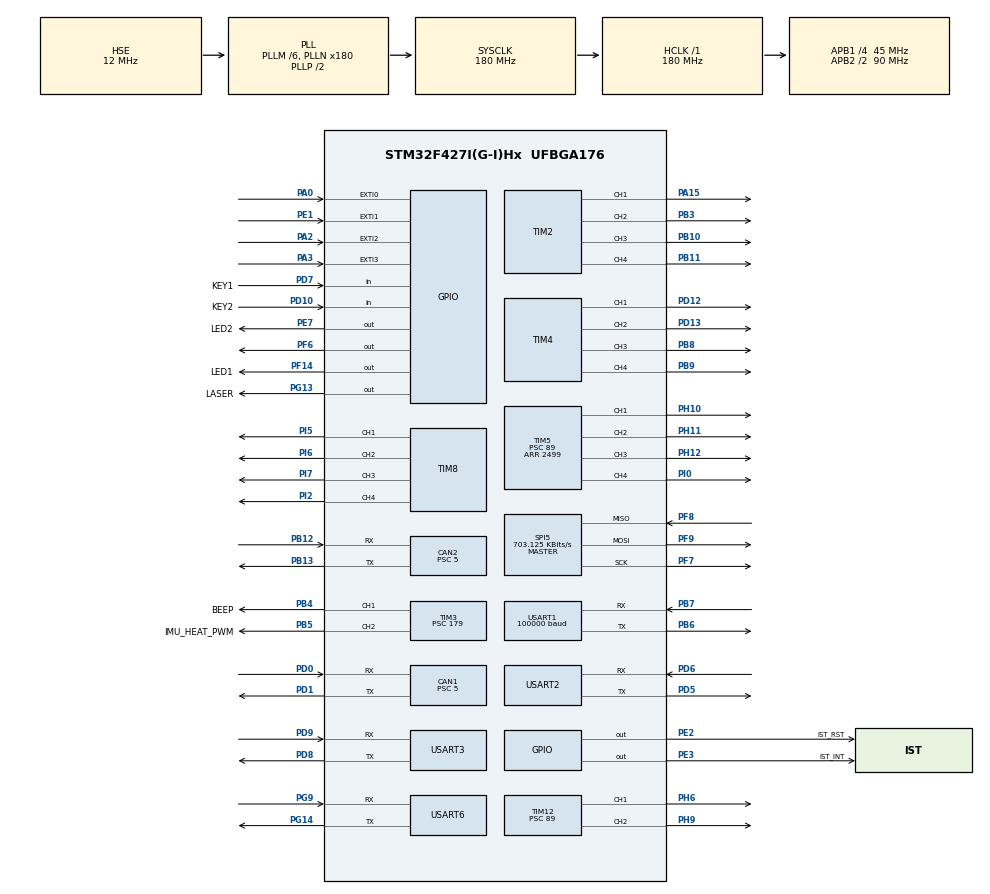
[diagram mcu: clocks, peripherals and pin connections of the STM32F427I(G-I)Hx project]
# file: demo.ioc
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CAN1.ABOM=ENABLE
CAN1.BS1=CAN_BS1_3TQ
CAN1.BS2=CAN_BS2_5TQ
CAN1.CalculateTimeBit=1000
CAN1.CalculateTimeQuantum=111.11111111111111
CAN1.Prescaler=5
CAN1.SJW=CAN_SJW_1TQ
CAN2.ABOM=ENABLE
CAN2.BS1=CAN_BS1_3TQ
CAN2.BS2=CAN_BS2_5TQ
CAN2.CalculateTimeBit=1000
CAN2.CalculateTimeQuantum=111.11111111111111
CAN2.Prescaler=5
CAN2.SJW=CAN_SJW_4TQ
Dma.Request0=USART1_RX
Dma.Request1=USART2_RX
Dma.Request2=USART3_RX
Dma.Request3=USART6_RX
Dma.USART1_RX.0.Direction=DMA_PERIPH_TO_MEMORY
Dma.USART1_RX.0.FIFOMode=DMA_FIFOMODE_DISABLE
Dma.USART1_RX.0.Instance=DMA2_Stream2
Dma.USART1_RX.0.MemDataAlignment=DMA_MDATAALIGN_BYTE
Dma.USART1_RX.0.MemInc=DMA_MINC_ENABLE
Dma.USART1_RX.0.Mode=DMA_NORMAL
Dma.USART1_RX.0.PeriphDataAlignment=DMA_PDATAALIGN_BYTE
Dma.USART1_RX.0.PeriphInc=DMA_PINC_DISABLE
Dma.USART1_RX.0.Priority=DMA_PRIORITY_LOW
Dma.USART2_RX.1.Direction=DMA_PERIPH_TO_MEMORY
Dma.USART2_RX.1.FIFOMode=DMA_FIFOMODE_DISABLE
Dma.USART2_RX.1.Instance=DMA1_Stream5
Dma.USART2_RX.1.MemDataAlignment=DMA_MDATAALIGN_BYTE
Dma.USART2_RX.1.MemInc=DMA_MINC_ENABLE
Dma.USART2_RX.1.Mode=DMA_NORMAL
Dma.USART2_RX.1.PeriphDataAlignment=DMA_PDATAALIGN_BYTE
Dma.USART2_RX.1.PeriphInc=DMA_PINC_DISABLE
Dma.USART2_RX.1.Priority=DMA_PRIORITY_LOW
Dma.USART3_RX.2.Direction=DMA_PERIPH_TO_MEMORY
Dma.USART3_RX.2.FIFOMode=DMA_FIFOMODE_DISABLE
Dma.USART3_RX.2.Instance=DMA1_Stream1
Dma.USART3_RX.2.MemDataAlignment=DMA_MDATAALIGN_BYTE
Dma.USART3_RX.2.MemInc=DMA_MINC_ENABLE
Dma.USART3_RX.2.Mode=DMA_NORMAL
Dma.USART3_RX.2.PeriphDataAlignment=DMA_PDATAALIGN_BYTE
Dma.USART3_RX.2.PeriphInc=DMA_PINC_DISABLE
Dma.USART3_RX.2.Priority=DMA_PRIORITY_LOW
Dma.USART6_RX.3.Direction=DMA_PERIPH_TO_MEMORY
Dma.USART6_RX.3.FIFOMode=DMA_FIFOMODE_DISABLE
Dma.USART6_RX.3.Instance=DMA2_Stream1
Dma.USART6_RX.3.MemDataAlignment=DMA_MDATAALIGN_BYTE
Dma.USART6_RX.3.MemInc=DMA_MINC_ENABLE
Dma.USART6_RX.3.Mode=DMA_NORMAL
Dma.USART6_RX.3.PeriphDataAlignment=DMA_PDATAALIGN_BYTE
Dma.USART6_RX.3.PeriphInc=DMA_PINC_DISABLE
Dma.USART6_RX.3.Priority=DMA_PRIORITY_LOW
FREERTOS.Tasks01=defaultTask,0,128,StartDefaultTask,Default
Mcu.Family=STM32F4
Mcu.Name=STM32F427I(G-I)Hx
Mcu.Package=UFBGA176
NVIC.CAN1_RX0_IRQn=true\:5\:0\:false\:false\:true\:true\:true\:true
NVIC.CAN1_TX_IRQn=true\:5\:0\:false\:false\:true\:true\:true\:true
NVIC.CAN2_RX0_IRQn=true\:0\:0\:false\:false\:true\:false\:true\:true
NVIC.CAN2_TX_IRQn=true\:0\:0\:false\:false\:true\:false\:true\:true
NVIC.DMA1_Stream1_IRQn=true\:5\:0\:false\:false\:true\:true\:true\:true
NVIC.DMA1_Stream5_IRQn=true\:5\:0\:false\:false\:true\:true\:true\:true
NVIC.DMA2_Stream1_IRQn=true\:5\:0\:false\:false\:true\:true\:true\:true
NVIC.DMA2_Stream2_IRQn=true\:5\:0\:false\:false\:true\:true\:true\:true
NVIC.PriorityGroup=NVIC_PRIORITYGROUP_4
NVIC.TIM6_DAC_IRQn=true\:0\:0\:false\:false\:true\:false\:true\:true
NVIC.TimeBase=TIM6_DAC_IRQn
NVIC.TimeBaseIP=TIM6
NVIC.USART1_IRQn=true\:5\:0\:false\:false\:true\:true\:true\:true
NVIC.USART2_IRQn=true\:0\:0\:false\:false\:true\:false\:true\:true
NVIC.USART3_IRQn=true\:0\:0\:false\:false\:true\:false\:true\:true
NVIC.USART6_IRQn=true\:5\:0\:false\:false\:true\:true\:true\:true
PA0/WKUP.Signal=GPXTI0
PA13.Mode=Serial_Wire
PA13.Signal=SYS_JTMS-SWDIO
PA14.Mode=Serial_Wire
PA14.Signal=SYS_JTCK-SWCLK
PA15.Signal=S_TIM2_CH1_ETR
PA2.Signal=GPXTI2
PA3.Signal=GPXTI3
PB10.Signal=S_TIM2_CH3
PB11.Signal=S_TIM2_CH4
PB12.Mode=Slave
PB12.Signal=CAN2_RX
PB13.Mode=Slave
PB13.Signal=CAN2_TX
PB3.Signal=S_TIM2_CH2
PB4.GPIO_Label=BEEP
PB4.Signal=S_TIM3_CH1
PB5.GPIO_Label=IMU_HEAT_PWM
PB5.Signal=S_TIM3_CH2
PB6.Mode=Asynchronous
PB6.Signal=USART1_TX
PB7.Mode=Asynchronous
PB7.Signal=USART1_RX
PB8.Signal=S_TIM4_CH3
PB9.Signal=S_TIM4_CH4
PD0.Mode=Master
PD0.Signal=CAN1_RX
PD1.Mode=Master
PD1.Signal=CAN1_TX
PD10.GPIO_Label=KEY2
PD10.Signal=GPIO_Input
PD12.Signal=S_TIM4_CH1
PD13.Signal=S_TIM4_CH2
PD5.Mode=Asynchronous
PD5.Signal=USART2_TX
PD6.Mode=Asynchronous
PD6.Signal=USART2_RX
PD7.GPIO_Label=KEY1
PD7.Signal=GPIO_Input
PD8.Mode=Asynchronous
PD8.Signal=USART3_TX
PD9.Mode=Asynchronous
PD9.Signal=USART3_RX
PE1.GPIO_ModeDefaultEXTI=GPIO_MODE_IT_FALLING
PE1.GPIO_PuPd=GPIO_PULLUP
PE1.Signal=GPXTI1
PE2.GPIO_Label=IST_RST
PE2.PinState=GPIO_PIN_SET
PE2.Signal=GPIO_Output
PE3.GPIO_Label=IST_INT
PE3.Signal=GPIO_Output
PE7.GPIO_Label=LED2
PE7.Signal=GPIO_Output
PF14.GPIO_Label=LED1
PF14.Signal=GPIO_Output
PF6.Signal=GPIO_Output
PF7.Mode=Full_Duplex_Master
PF7.Signal=SPI5_SCK
PF8.Mode=Full_Duplex_Master
PF8.Signal=SPI5_MISO
PF9.Mode=Full_Duplex_Master
PF9.Signal=SPI5_MOSI
PG13.GPIO_Label=LASER
PG13.Signal=GPIO_Output
PG14.Mode=Asynchronous
PG14.Signal=USART6_TX
PG9.Mode=Asynchronous
PG9.Signal=USART6_RX
PH0/OSC_IN.Mode=HSE-External-Oscillator
PH0/OSC_IN.Signal=RCC_OSC_IN
PH1/OSC_OUT.Mode=HSE-External-Oscillator
PH1/OSC_OUT.Signal=RCC_OSC_OUT
PH10.Signal=S_TIM5_CH1
PH11.Signal=S_TIM5_CH2
PH12.Signal=S_TIM5_CH3
PH6.Signal=S_TIM12_CH1
PH9.Signal=S_TIM12_CH2
PI0.Signal=S_TIM5_CH4
PI2.Signal=S_TIM8_CH4
PI5.Signal=S_TIM8_CH1
PI6.Signal=S_TIM8_CH2
PI7.Signal=S_TIM8_CH3
ProjectManager.HeapSize=0x200
ProjectManager.StackSize=0x400
ProjectManager.TargetToolchain=MDK-ARM V5
RCC.48MHZClocksFreq_Value=90000000
RCC.AHBFreq_Value=180000000
RCC.APB1CLKDivider=RCC_HCLK_DIV4
RCC.APB1Freq_Value=45000000
RCC.APB1TimFreq_Value=90000000
RCC.APB2CLKDivider=RCC_HCLK_DIV2
RCC.APB2Freq_Value=90000000
RCC.APB2TimFreq_Value=180000000
RCC.CortexFreq_Value=180000000
RCC.HCLKFreq_Value=180000000
RCC.HSE_VALUE=12000000
RCC.HSI_VALUE=16000000
RCC.LSE_VALUE=32768
RCC.PLLM=6
RCC.PLLN=180
RCC.PLLSourceVirtual=RCC_PLLSOURCE_HSE
RCC.SYSCLKFreq_VALUE=180000000
RCC.SYSCLKSource=RCC_SYSCLKSOURCE_PLLCLK
RCC.VCOOutputFreq_Value=360000000
SH.S_TIM12_CH1.0=TIM12_CH1,PWM Generation1 CH1
SH.S_TIM12_CH2.0=TIM12_CH2,PWM Generation2 CH2
SH.S_TIM2_CH1_ETR.0=TIM2_CH1,PWM Generation1 CH1
SH.S_TIM2_CH2.0=TIM2_CH2,PWM Generation2 CH2
SH.S_TIM2_CH3.0=TIM2_CH3,PWM Generation3 CH3
SH.S_TIM2_CH4.0=TIM2_CH4,PWM Generation4 CH4
SH.S_TIM3_CH1.0=TIM3_CH1,PWM Generation1 CH1
SH.S_TIM3_CH2.0=TIM3_CH2,PWM Generation2 CH2
SH.S_TIM4_CH1.0=TIM4_CH1,PWM Generation1 CH1
SH.S_TIM4_CH2.0=TIM4_CH2,PWM Generation2 CH2
SH.S_TIM4_CH3.0=TIM4_CH3,PWM Generation3 CH3
SH.S_TIM4_CH4.0=TIM4_CH4,PWM Generation4 CH4
SH.S_TIM5_CH1.0=TIM5_CH1,PWM Generation1 CH1
SH.S_TIM5_CH2.0=TIM5_CH2,PWM Generation2 CH2
SH.S_TIM5_CH3.0=TIM5_CH3,PWM Generation3 CH3
SH.S_TIM5_CH4.0=TIM5_CH4,PWM Generation4 CH4
SH.S_TIM8_CH1.0=TIM8_CH1,PWM Generation1 CH1
SH.S_TIM8_CH2.0=TIM8_CH2,PWM Generation2 CH2
SH.S_TIM8_CH3.0=TIM8_CH3,PWM Generation3 CH3
SH.S_TIM8_CH4.0=TIM8_CH4,PWM Generation4 CH4
SPI5.BaudRatePrescaler=SPI_BAUDRATEPRESCALER_128
SPI5.CalculateBaudRate=703.125 KBits/s
SPI5.Direction=SPI_DIRECTION_2LINES
SPI5.Mode=SPI_MODE_MASTER
SPI5.VirtualType=VM_MASTER
TIM12.Channel-PWM\ Generation1\ CH1=TIM_CHANNEL_1
TIM12.Channel-PWM\ Generation2\ CH2=TIM_CHANNEL_2
TIM12.Period=2499
TIM12.Prescaler=89
TIM12.Pulse-PWM\ Generation1\ CH1=1000
TIM12.Pulse-PWM\ Generation2\ CH2=1000
TIM2.Channel-PWM\ Generation1\ CH1=TIM_CHANNEL_1
TIM2.Channel-PWM\ Generation2\ CH2=TIM_CHANNEL_2
TIM2.Channel-PWM\ Generation3\ CH3=TIM_CHANNEL_3
TIM2.Channel-PWM\ Generation4\ CH4=TIM_CHANNEL_4
TIM3.Channel-PWM\ Generation1\ CH1=TIM_CHANNEL_1
TIM3.Channel-PWM\ Generation2\ CH2=TIM_CHANNEL_2
TIM3.Prescaler=179
TIM4.Channel-PWM\ Generation1\ CH1=TIM_CHANNEL_1
TIM4.Channel-PWM\ Generation2\ CH2=TIM_CHANNEL_2
TIM4.Channel-PWM\ Generation3\ CH3=TIM_CHANNEL_3
TIM4.Channel-PWM\ Generation4\ CH4=TIM_CHANNEL_4
TIM5.Channel-PWM\ Generation1\ CH1=TIM_CHANNEL_1
TIM5.Channel-PWM\ Generation2\ CH2=TIM_CHANNEL_2
TIM5.Channel-PWM\ Generation3\ CH3=TIM_CHANNEL_3
TIM5.Channel-PWM\ Generation4\ CH4=TIM_CHANNEL_4
TIM5.Period=2499
TIM5.Prescaler=89
TIM5.Pulse-PWM\ Generation1\ CH1=1000
TIM5.Pulse-PWM\ Generation2\ CH2=1000
TIM8.Channel-PWM\ Generation1\ CH1=TIM_CHANNEL_1
TIM8.Channel-PWM\ Generation2\ CH2=TIM_CHANNEL_2
TIM8.Channel-PWM\ Generation3\ CH3=TIM_CHANNEL_3
TIM8.Channel-PWM\ Generation4\ CH4=TIM_CHANNEL_4
USART1.BaudRate=100000
USART1.Parity=PARITY_EVEN
USART1.VirtualMode=VM_ASYNC
USART2.VirtualMode=VM_ASYNC
USART3.VirtualMode=VM_ASYNC
USART6.VirtualMode=VM_ASYNC
VP_FREERTOS_VS_CMSIS_V1.Mode=CMSIS_V1
VP_SYS_VS_tim6.Mode=TIM6
board=demo

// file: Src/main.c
/**
  ******************************************************************************
  * File Name          : main.c
  * Description        : Main program body
  ******************************************************************************
  *
  * COPYRIGHT(c) 2017 STMicroelectronics
  *
  * Redistribution and use in source and binary forms, with or without modification,
  * are permitted provided that the following conditions are met:
  *   1. Redistributions of source code must retain the above copyright notice,
  *      this list of conditions and the following disclaimer.
  *   2. Redistributions in binary form must reproduce the above copyright notice,
  *      this list of conditions and the following disclaimer in the documentation
  *      and/or other materials provided with the distribution.
  *   3. Neither the name of STMicroelectronics nor the names of its contributors
  *      may be used to endorse or promote products derived from this software
  *      without specific prior written permission.
  *
  * THIS SOFTWARE IS PROVIDED BY THE COPYRIGHT HOLDERS AND CONTRIBUTORS "AS IS"
  * AND ANY EXPRESS OR IMPLIED WARRANTIES, INCLUDING, BUT NOT LIMITED TO, THE
  * IMPLIED WARRANTIES OF MERCHANTABILITY AND FITNESS FOR A PARTICULAR PURPOSE ARE
  * DISCLAIMED. IN NO EVENT SHALL THE COPYRIGHT HOLDER OR CONTRIBUTORS BE LIABLE
  * FOR ANY DIRECT, INDIRECT, INCIDENTAL, SPECIAL, EXEMPLARY, OR CONSEQUENTIAL
  * DAMAGES (INCLUDING, BUT NOT LIMITED TO, PROCUREMENT OF SUBSTITUTE GOODS OR
  * SERVICES; LOSS OF USE, DATA, OR PROFITS; OR BUSINESS INTERRUPTION) HOWEVER
  * CAUSED AND ON ANY THEORY OF LIABILITY, WHETHER IN CONTRACT, STRICT LIABILITY,
  * OR TORT (INCLUDING NEGLIGENCE OR OTHERWISE) ARISING IN ANY WAY OUT OF THE USE
  * OF THIS SOFTWARE, EVEN IF ADVISED OF THE POSSIBILITY OF SUCH DAMAGE.
  *
  ******************************************************************************
  */
#include "stm32f4xx_hal.h"
#include "cmsis_os.h"
#include "can.h"
#include "dma.h"
#include "spi.h"
#include "tim.h"
#include "usart.h"
#include "gpio.h"

/* USER CODE BEGIN Includes */
//char buf[200];
///* USER CODE BEGIN Private defines */
//#define COUNTOF(__BUFFER__)   (sizeof(__BUFFER__) / sizeof(*(__BUFFER__)))

/* USER CODE END Includes */

/* USER CODE BEGIN PV */
/* Private variables ---------------------------------------------------------*/

/* USER CODE END PV */

void SystemClock_Config(void);
void Error_Handler(void);
void MX_FREERTOS_Init(void);

/* USER CODE BEGIN PFP */
/* Private function prototypes -----------------------------------------------*/

/* USER CODE END PFP */

int main(void)
{

  /* MCU Configuration----------------------------------------------------------*/

  /* Reset of all peripherals, Initializes the Flash interface and the Systick. */

  HAL_Init();

  /* Configure the system clock */
  SystemClock_Config();

  /* Initialize all configured peripherals */
  MX_GPIO_Init();
  MX_DMA_Init();
  MX_CAN1_Init();
  MX_USART1_UART_Init();
  MX_SPI5_Init();
  MX_USART3_UART_Init();
  MX_USART6_UART_Init();
  MX_CAN2_Init();
  MX_TIM5_Init();
  MX_TIM2_Init();
  MX_TIM3_Init();
  MX_TIM4_Init();
  MX_TIM8_Init();
  MX_TIM12_Init();
  MX_USART2_UART_Init();

  /* Call init function for freertos objects (in freertos.c) */
  MX_FREERTOS_Init();

  /* Start scheduler */
  osKernelStart();

  /* We should never get here as control is now taken by the scheduler */

  /* Infinite loop */
  while (1)
  {
//	sprintf(buf, "aaaa");
//	HAL_UART_Transmit(&huart6, (uint8_t *)buf, (COUNTOF(buf) - 1), 55);
//	HAL_Delay(50);

  }

}

/** System Clock Configuration
*/
void SystemClock_Config(void)
{

  RCC_OscInitTypeDef RCC_OscInitStruct;
  RCC_ClkInitTypeDef RCC_ClkInitStruct;

  __HAL_RCC_PWR_CLK_ENABLE();

  __HAL_PWR_VOLTAGESCALING_CONFIG(PWR_REGULATOR_VOLTAGE_SCALE1);

  RCC_OscInitStruct.OscillatorType = RCC_OSCILLATORTYPE_HSE;
  RCC_OscInitStruct.HSEState = RCC_HSE_ON;
  RCC_OscInitStruct.PLL.PLLState = RCC_PLL_ON;
  RCC_OscInitStruct.PLL.PLLSource = RCC_PLLSOURCE_HSE;
  RCC_OscInitStruct.PLL.PLLM = 6;
  RCC_OscInitStruct.PLL.PLLN = 180;
  RCC_OscInitStruct.PLL.PLLP = RCC_PLLP_DIV2;
  RCC_OscInitStruct.PLL.PLLQ = 4;
  if (HAL_RCC_OscConfig(&RCC_OscInitStruct) != HAL_OK)
  {
    Error_Handler();
  }

  if (HAL_PWREx_EnableOverDrive() != HAL_OK)
  {
    Error_Handler();
  }

  RCC_ClkInitStruct.ClockType = RCC_CLOCKTYPE_HCLK|RCC_CLOCKTYPE_SYSCLK
                              |RCC_CLOCKTYPE_PCLK1|RCC_CLOCKTYPE_PCLK2;
  RCC_ClkInitStruct.SYSCLKSource = RCC_SYSCLKSOURCE_PLLCLK;
  RCC_ClkInitStruct.AHBCLKDivider = RCC_SYSCLK_DIV1;
  RCC_ClkInitStruct.APB1CLKDivider = RCC_HCLK_DIV4;
  RCC_ClkInitStruct.APB2CLKDivider = RCC_HCLK_DIV2;
  if (HAL_RCC_ClockConfig(&RCC_ClkInitStruct, FLASH_LATENCY_5) != HAL_OK)
  {
    Error_Handler();
  }

  HAL_SYSTICK_Config(HAL_RCC_GetHCLKFreq()/1000);

  HAL_SYSTICK_CLKSourceConfig(SYSTICK_CLKSOURCE_HCLK);

  /* SysTick_IRQn interrupt configuration */
  HAL_NVIC_SetPriority(SysTick_IRQn, 15, 0);
}

void HAL_TIM_PeriodElapsedCallback(TIM_HandleTypeDef *htim)
{
  if (htim->Instance == TIM6) {
    HAL_IncTick();
  }
}

void Error_Handler(void)
{
  while(1)
  {
  }
}

/************************ (C) COPYRIGHT STMicroelectronics *****END OF FILE****/

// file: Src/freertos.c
/**
  ******************************************************************************
  * File Name          : freertos.c
  * Description        : Code for freertos applications
  ******************************************************************************
  *
  * COPYRIGHT(c) 2017 STMicroelectronics
  *
  * Redistribution and use in source and binary forms, with or without modification,
  * are permitted provided that the following conditions are met:
  *   1. Redistributions of source code must retain the above copyright notice,
  *      this list of conditions and the following disclaimer.
  *   2. Redistributions in binary form must reproduce the above copyright notice,
  *      this list of conditions and the following disclaimer in the documentation
  *      and/or other materials provided with the distribution.
  *   3. Neither the name of STMicroelectronics nor the names of its contributors
  *      may be used to endorse or promote products derived from this software
  *      without specific prior written permission.
  *
  * THIS SOFTWARE IS PROVIDED BY THE COPYRIGHT HOLDERS AND CONTRIBUTORS "AS IS"
  * AND ANY EXPRESS OR IMPLIED WARRANTIES, INCLUDING, BUT NOT LIMITED TO, THE
  * IMPLIED WARRANTIES OF MERCHANTABILITY AND FITNESS FOR A PARTICULAR PURPOSE ARE
  * DISCLAIMED. IN NO EVENT SHALL THE COPYRIGHT HOLDER OR CONTRIBUTORS BE LIABLE
  * FOR ANY DIRECT, INDIRECT, INCIDENTAL, SPECIAL, EXEMPLARY, OR CONSEQUENTIAL
  * DAMAGES (INCLUDING, BUT NOT LIMITED TO, PROCUREMENT OF SUBSTITUTE GOODS OR
  * SERVICES; LOSS OF USE, DATA, OR PROFITS; OR BUSINESS INTERRUPTION) HOWEVER
  * CAUSED AND ON ANY THEORY OF LIABILITY, WHETHER IN CONTRACT, STRICT LIABILITY,
  * OR TORT (INCLUDING NEGLIGENCE OR OTHERWISE) ARISING IN ANY WAY OUT OF THE USE
  * OF THIS SOFTWARE, EVEN IF ADVISED OF THE POSSIBILITY OF SUCH DAMAGE.
  *
  ******************************************************************************
  */

#include "FreeRTOS.h"
#include "task.h"
#include "cmsis_os.h"

/* USER CODE BEGIN Includes */
#include "pid.h"
#include "bsp_can.h"
#include "mytype.h"
#include "tim.h"
#include "usart.h"
/* USER CODE END Includes */

osThreadId defaultTaskHandle;

char buf[200];
/* USER CODE BEGIN Private defines */
#define COUNTOF(__BUFFER__)   (sizeof(__BUFFER__) / sizeof(*(__BUFFER__)))

#define BYTE0(dwTemp)       ( *( (char *)(&dwTemp)	  ) )
#define BYTE1(dwTemp)       ( *( (char *)(&dwTemp) + 1) )
#define BYTE2(dwTemp)       ( *( (char *)(&dwTemp) + 2) )
#define BYTE3(dwTemp)       ( *( (char *)(&dwTemp) + 3) )

void StartDefaultTask(void const * argument);

void MX_FREERTOS_Init(void); /* (MISRA C 2004 rule 8.1) */

/* Hook prototypes */

/* Init FreeRTOS */

void MX_FREERTOS_Init(void) {

  /* Create the thread(s) */
  /* definition and creation of defaultTask */
  osThreadDef(defaultTask, StartDefaultTask, osPriorityNormal, 0, 128);
  defaultTaskHandle = osThreadCreate(osThread(defaultTask), NULL);

}

#define CAN_CONTROL	//const current control
//#define PWM_CONTROL	//const speed control
int set_v,set_spd[4];
/* StartDefaultTask function */
void StartDefaultTask(void const * argument)
{

  /* USER CODE BEGIN StartDefaultTask */
	HAL_TIM_PWM_Start(&htim5, TIM_CHANNEL_1);
	HAL_TIM_PWM_Start(&htim5, TIM_CHANNEL_2);
	HAL_TIM_PWM_Start(&htim5, TIM_CHANNEL_3);
	HAL_TIM_PWM_Start(&htim5, TIM_CHANNEL_4);

	my_can_filter_init_recv_all(&hcan1);
	HAL_CAN_Receive_IT(&hcan1, CAN_FIFO0);
	HAL_CAN_Receive_IT(&hcan2, CAN_FIFO0);
//	PID_struct_init(&pid_omg, POSITION_PID, 20000, 20000,
//									1.5f,	0.1f,	0.0f	);  //angular rate closeloop.
	for(int i=0; i<4; i++)
	{
		PID_struct_init(&pid_spd[i], POSITION_PID, 20000, 20000,
									10.0f,	0.1f,	0.0f	);  //4 motos angular rate closeloop. //kp increase from 1.5 to 10.0
	}

	__HAL_TIM_SetCompare(&htim5, TIM_CHANNEL_1, 1000);
	__HAL_TIM_SetCompare(&htim5, TIM_CHANNEL_2, 1000);
	__HAL_TIM_SetCompare(&htim5, TIM_CHANNEL_3, 1000);
	__HAL_TIM_SetCompare(&htim5, TIM_CHANNEL_4, 1000);	//ppm must be 1000 at first time.
	HAL_Delay(100);
  /* Infinite loop */
  for(;;)
  {
	 u32 _cnt = 0;
	 u8 i;
	 u8 sum = 0;
	 buf[_cnt++] = 0xAA;
	 buf[_cnt++] = 0xAA;
	 buf[_cnt++] = 0xF1;
	 buf[_cnt++] = 0;

	 buf[_cnt++] = BYTE3(moto_chassis[0].total_angle);
	 buf[_cnt++] = BYTE2(moto_chassis[0].total_angle);
	 buf[_cnt++] = BYTE1(moto_chassis[0].total_angle);
	 buf[_cnt++] = BYTE0(moto_chassis[0].total_angle);

	 buf[3] = _cnt - 4; //数据长度
	 for(i = 0; i < _cnt; i++)
		sum += buf[i];
	  buf[_cnt++] = sum;

	 buf[_cnt++] = 0xBB;

	 HAL_UART_Transmit(&huart6, (uint8_t *)buf, _cnt, 55);

		#if defined CAN_CONTROL

			for(int i=0; i<4; i++)
			{
				pid_calc(&pid_spd[i], moto_chassis[i].speed_rpm, set_spd[i]);
			}
			set_moto_current(&hcan1, pid_spd[0].pos_out,
									pid_spd[1].pos_out,
									pid_spd[2].pos_out,
									pid_spd[3].pos_out);

		#elif defined PWM_CONTROL
			__HAL_TIM_SetCompare(&htim5, TIM_CHANNEL_1, 1000+set_spd[0]);//spd range[0,999]
			__HAL_TIM_SetCompare(&htim5, TIM_CHANNEL_2, 1000+set_spd[1]);
			__HAL_TIM_SetCompare(&htim5, TIM_CHANNEL_3, 1000+set_spd[2]);
			__HAL_TIM_SetCompare(&htim5, TIM_CHANNEL_4, 1000+set_spd[3]);
			//TIM5->CCR1 = set_spd[0];
		#endif

	static int key_sta,key_cnt;
	switch(key_sta)
	{
		case 0:	//no key
			if( 0 == HAL_GPIO_ReadPin(KEY2_GPIO_Port, KEY2_Pin) )
			{
				key_sta = 1;
			}
			break;
		case 1: //key down wait release.
			if( 0 == HAL_GPIO_ReadPin(KEY2_GPIO_Port, KEY2_Pin) )
			{
				key_sta = 2;
				key_cnt++;
			}
			else
			{
				key_sta = 0;
			}
			break;
		case 2:
			if( 0 != HAL_GPIO_ReadPin(KEY2_GPIO_Port, KEY2_Pin) )
			{
				key_sta = 0;
			}
			break;
	}
	if(key_cnt>2)
		key_cnt = 0;
#if defined CAN_CONTROL
	set_spd[0] = set_spd[1] = set_spd[2] = set_spd[3] = key_cnt*50;
#elif defined PWM_CONTROL
    set_spd[0] = set_spd[1] = set_spd[2] = set_spd[3] = key_cnt*50;
#endif

	osDelay(10);
  }
  /* USER CODE END StartDefaultTask */
}

/************************ (C) COPYRIGHT STMicroelectronics *****END OF FILE****/
